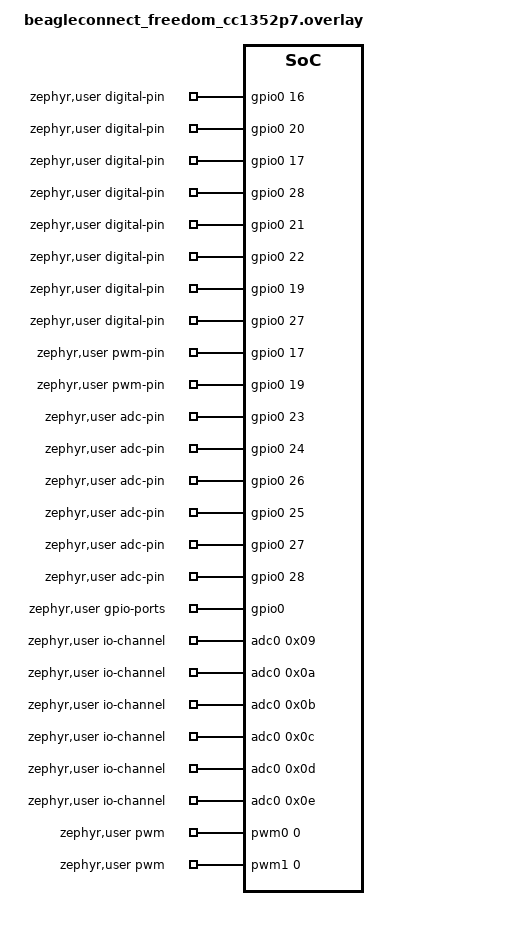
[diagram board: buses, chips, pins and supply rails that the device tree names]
/*
 * Copyright (c) 2024 Ayush Singh <ayush@beagleboard.org>
 *
 * SPDX-License-Identifier: Apache-2.0
 */

/ {
	zephyr,user {
		digital-pin-gpios =
				    <&gpio0 16 GPIO_ACTIVE_HIGH>, /* D0  - MB1 INT */
				    <&gpio0 20 GPIO_ACTIVE_HIGH>, /* D1  - MB2 INT */
				    <&gpio0 17 GPIO_ACTIVE_HIGH>, /* D2  - MB1 PWM */
				    <&gpio0 28 GPIO_ACTIVE_HIGH>, /* D3  - MB1 CS - A5 */
				    <&gpio0 21 GPIO_ACTIVE_HIGH>, /* D4  - MB2 UART1 RX */
				    <&gpio0 22 GPIO_ACTIVE_HIGH>, /* D5  - MB2 UART1 TX */
				    <&gpio0 19 GPIO_ACTIVE_HIGH>, /* D6  - MB2 PWM */
				    <&gpio0 27 GPIO_ACTIVE_HIGH>, /* D7  - MB2 CS - A4 */
				    <&gpio0 9  GPIO_ACTIVE_HIGH>, /* D8  - MB1/2 PICO */
				    <&gpio0 10 GPIO_ACTIVE_HIGH>, /* D9  - MB1/2 SCK */
				    <&gpio0 11 GPIO_ACTIVE_HIGH>, /* D10 - MB1/2 POCI */
				    <&gpio0 26 GPIO_ACTIVE_HIGH>, /* D11 - MB1/2 SDA - A2 */
				    <&gpio0 25 GPIO_ACTIVE_HIGH>, /* D12 - MB1/2 SCL - A3 */
				    <&gpio0 12 GPIO_ACTIVE_HIGH>, /* D13 - MB1 UART0 RX */
				    <&gpio0 13 GPIO_ACTIVE_HIGH>, /* D14 - MB1 UART0 TX */
				    <&gpio0 23 GPIO_ACTIVE_HIGH>, /* D15 - MB1 AN - A0 */
				    <&gpio0 24 GPIO_ACTIVE_HIGH>, /* D16 - MB2 AN - A1 */
				    <&gpio0 5  GPIO_ACTIVE_HIGH>, /* D17 - MB2 RST */
				    <&gpio0 6  GPIO_ACTIVE_HIGH>, /* D18 - MB1 RST */
				    <&gpio0 7  GPIO_ACTIVE_HIGH>, /* D19 - on-board sensor INT */
				    <&gpio0 8  GPIO_ACTIVE_HIGH>, /* D20 - flash CS */
				    <&gpio0 14 GPIO_ACTIVE_HIGH>, /* D21 - on-board sensor I2C-en */
				    <&gpio0 15 GPIO_ACTIVE_HIGH>, /* D22 - BOOT button */
				    <&gpio0 18 GPIO_ACTIVE_HIGH>; /* D23 - LINK LED */

		pwm-pin-gpios =
				    <&gpio0 17 GPIO_ACTIVE_HIGH>, /* D2  - MB1 PWM */
				    <&gpio0 19 GPIO_ACTIVE_HIGH>; /* D6  - MB2 PWM */

		pwms = <&pwm0 0 255 PWM_POLARITY_NORMAL>,
				   <&pwm1 0 255 PWM_POLARITY_NORMAL>;

		adc-pin-gpios =
				    <&gpio0 23 GPIO_ACTIVE_HIGH>, /* D15 - MB1 AN - A0 */
				    <&gpio0 24 GPIO_ACTIVE_HIGH>, /* D16 - MB2 AN - A1 */
				    <&gpio0 26 GPIO_ACTIVE_HIGH>, /* D11 - MB1/2 SDA - A2 */
				    <&gpio0 25 GPIO_ACTIVE_HIGH>, /* D12 - MB1/2 SCL - A3 */
				    <&gpio0 27 GPIO_ACTIVE_HIGH>, /* D7  - MB2 CS - A4 */
				    <&gpio0 28 GPIO_ACTIVE_HIGH>; /* D3  - MB1 CS - A5 */

		io-channels = <&adc0 0x09>, <&adc0 0x0a>, <&adc0 0x0b>,
			      <&adc0 0x0c>, <&adc0 0x0d>, <&adc0 0x0e>;

		adc-pin-gpios =
				    <&gpio0 23 GPIO_ACTIVE_HIGH>, /* D15 - MB1 AN - A0 */
				    <&gpio0 24 GPIO_ACTIVE_HIGH>, /* D16 - MB2 AN - A1 */
				    <&gpio0 26 GPIO_ACTIVE_HIGH>, /* D11 - MB1/2 SDA - A2 */
				    <&gpio0 25 GPIO_ACTIVE_HIGH>, /* D12 - MB1/2 SCL - A3 */
				    <&gpio0 27 GPIO_ACTIVE_HIGH>, /* D7  - MB2 CS - A4 */
				    <&gpio0 28 GPIO_ACTIVE_HIGH>; /* D3  - MB1 CS - A5 */

		gpio-ports = <&gpio0>;
		serials = <&uart0 &uart1>;
		i2cs = <&i2c0>;
		spis = <&spi0>;
	};
};
